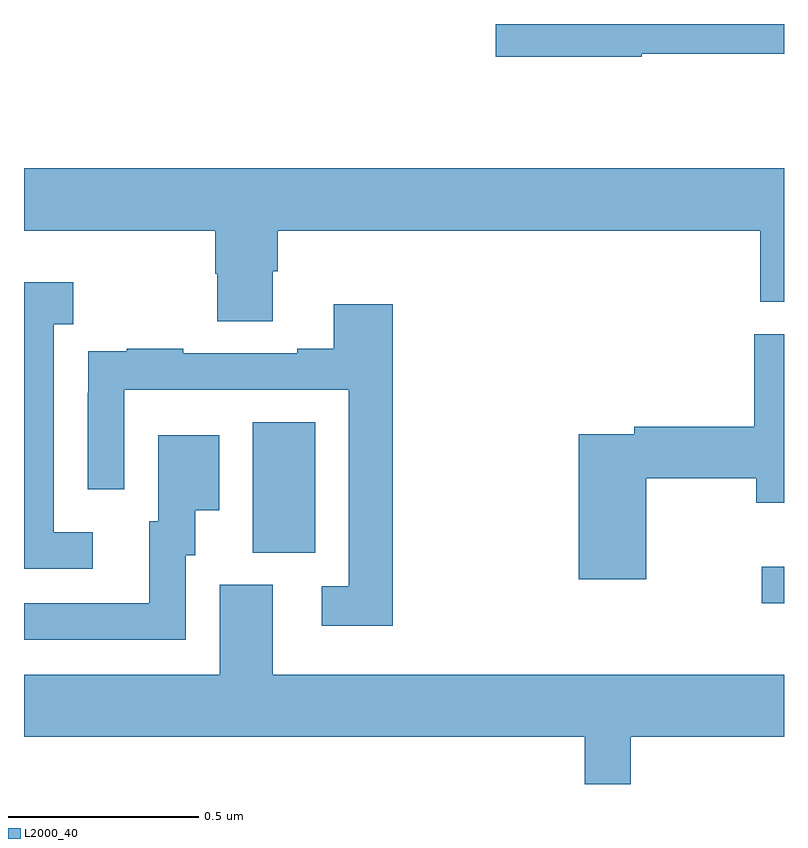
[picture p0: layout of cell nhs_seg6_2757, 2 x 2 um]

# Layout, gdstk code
import gdstk
lib = gdstk.Library(unit=1e-6, precision=1e-09)
def R(c, l, rs):  # rectangles x0, y0, x1, y1
    for r in rs: c.add(gdstk.rectangle(r[:2], r[2:], *l))
def P(c, l, *ps):  # polygons
    for p in ps: c.add(gdstk.Polygon(p, *l))
L2000_40 = (2000, 40)

nhs_seg6_2757 = lib.new_cell('nhs_seg6_2757')
R(nhs_seg6_2757, L2000_40, [(148.941,992.976,149,993.072), (147.602,993.109,147.766,993.452)])
P(nhs_seg6_2757, L2000_40, [(148.626,994.422),(149,994.422),(149,994.5),(148.242,994.5),(148.242,994.414),(148.626,994.414)],
  [(147.655,993.85),(147.668,993.85),(147.668,993.956),(148.937,993.956),(148.937,993.769),(149,993.769),(149,994.12),(147,994.12),(147,993.956),(147.503,993.956),(147.503,993.843),(147.508,993.843),(147.508,993.718),(147.655,993.718)],
  [(147.181,993.162),(147.078,993.162),(147.078,993.71),(147.13,993.71),(147.13,993.82),(147,993.82),(147,993.066),(147.181,993.066)],
  [(147.971,993.763),(147.815,993.763),(147.815,993.646),(147.719,993.646),(147.719,993.633),(147.419,993.633),(147.419,993.646),(147.271,993.646),(147.271,993.639),(147.169,993.639),(147.169,993.53),(147.168,993.53),(147.168,993.276),(147.264,993.276),(147.264,993.537),(147.855,993.537),(147.855,993.021),(147.783,993.021),(147.783,992.916),(147.971,992.916)],
  [(148.638,993.304),(148.927,993.304),(148.927,993.24),(149,993.24),(149,993.684),(148.922,993.684),(148.922,993.44),(148.606,993.44),(148.606,993.42),(148.46,993.42),(148.46,993.039),(148.638,993.039)],
  [(147.426,993.102),(147.451,993.102),(147.451,993.221),(147.514,993.221),(147.514,993.418),(147.353,993.418),(147.353,993.192),(147.329,993.192),(147.329,992.976),(147,992.976),(147,992.88),(147.426,992.88)],
  [(148.597,992.624),(149,992.624),(149,992.788),(147.655,992.788),(147.655,993.024),(147.515,993.024),(147.515,992.788),(147,992.788),(147,992.624),(148.475,992.624),(148.475,992.5),(148.597,992.5)])

lib.write_gds('nhs_seg6_2757.gds')
